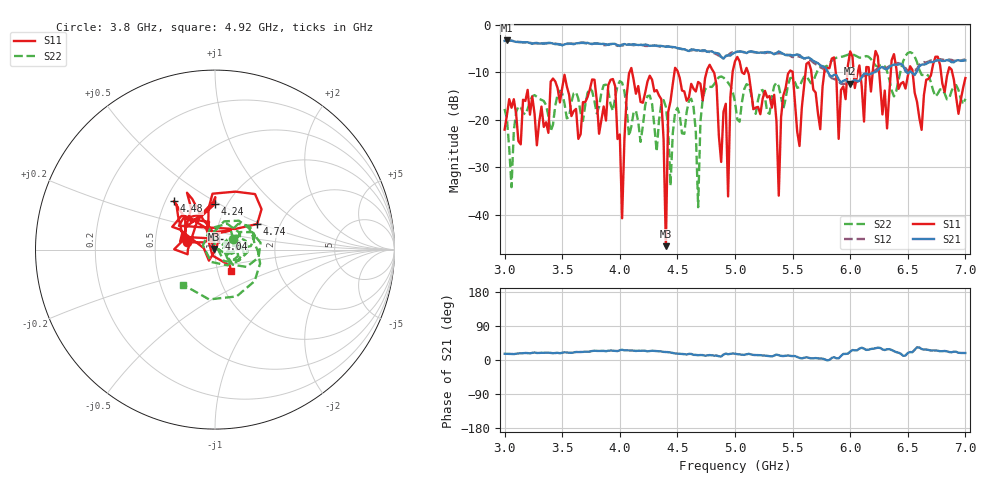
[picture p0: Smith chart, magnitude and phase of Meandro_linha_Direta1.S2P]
! Network Analyzer HP8722D
! Hewlett-Packard
! Data name: XX
! Saver's name: Rodrigo
! Comments:
! Time and date: 25/3/2025 15:50
!  Frequency  S11  S21  S12  S22
# HZ  S  MA R 50
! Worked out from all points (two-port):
!   201 points, 3 GHz to 7 GHz, reference 50 ohm
!   highest |S21| = -3.24 dB at 3.02 GHz (marker M1); lowest = -12.4 dB at 6 GHz (marker M2)
!   |S21| within 3 dB of the highest: start of sweep to 4.867 GHz; 4.969 GHz to 5.432 GHz (462.9 MHz wide, 8.9 % of centre)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
!   lowest |S11| = -46.7 dB at 4.4 GHz (marker M3), VSWR 1.01, Z = 49.6 + j0.288 ohm
!   |S11| at or under -10 dB: start of sweep to 4.084 GHz; 4.108 GHz to 4.474 GHz (366.6 MHz wide, 8.54 % of centre); 5.114 GHz to 5.468 GHz (353.7 MHz wide, 6.69 % of centre)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
!   |S22| runs from -38.4 to -5.7 dB; largest |S21 - S12| = 1.3
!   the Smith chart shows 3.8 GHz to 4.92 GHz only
!   S11 on the Smith chart (normalised r, x): 3.8 GHz: 0.73, +0.06; 4.04 GHz: 1.03, +0.12; 4.24 GHz: 0.88, +0.47; 4.48 GHz: 0.55, +0.34; 4.74 GHz: 1.53, +0.47; 4.92 GHz: 1.16, -0.28
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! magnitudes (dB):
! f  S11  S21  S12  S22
! 3 GHz  -22.1  -3.3  -3.3  -17.7
! 3.02 GHz  -19.0  -3.2  -3.3  -19.8
! 3.68 GHz  -16.3  -3.7  -3.7  -20.2
! 3.8 GHz  -15.8  -3.9  -3.9  -18.7
! 4.04 GHz  -24.1  -4.0  -4.2  -13.9
! 4.24 GHz  -11.9  -4.2  -4.4  -15.0
! 4.34 GHz  -14.8  -4.4  -4.5  -20.1
! 4.4 GHz  -46.7  -4.6  -4.5  -17.2
! 4.42 GHz  -18.3  -4.5  -4.5  -21.8
! 4.48 GHz  -9.0  -4.7  -4.8  -18.4
! 4.68 GHz  -12.0  -5.3  -5.4  -38.4
! 4.74 GHz  -11.2  -5.3  -5.4  -13.6
! 4.92 GHz  -16.6  -6.5  -6.6  -11.6
! 4.94 GHz  -36.2  -6.4  -6.3  -12.1
! 5 GHz  -7.6  -5.8  -5.8  -16.2
! 5.34 GHz  -14.7  -6.2  -6.0  -12.9
! 5.38 GHz  -36.0  -5.6  -6.0  -12.9
! 5.46 GHz  -10.3  -6.4  -6.3  -12.6
! 5.68 GHz  -13.6  -7.6  -7.9  -11.8
! 6 GHz  -5.5  -12.4  -12.3  -6.2
! 6.34 GHz  -14.2  -8.9  -8.6  -11.5
! 7 GHz  -11.2  -7.5  -7.2  -15.5
